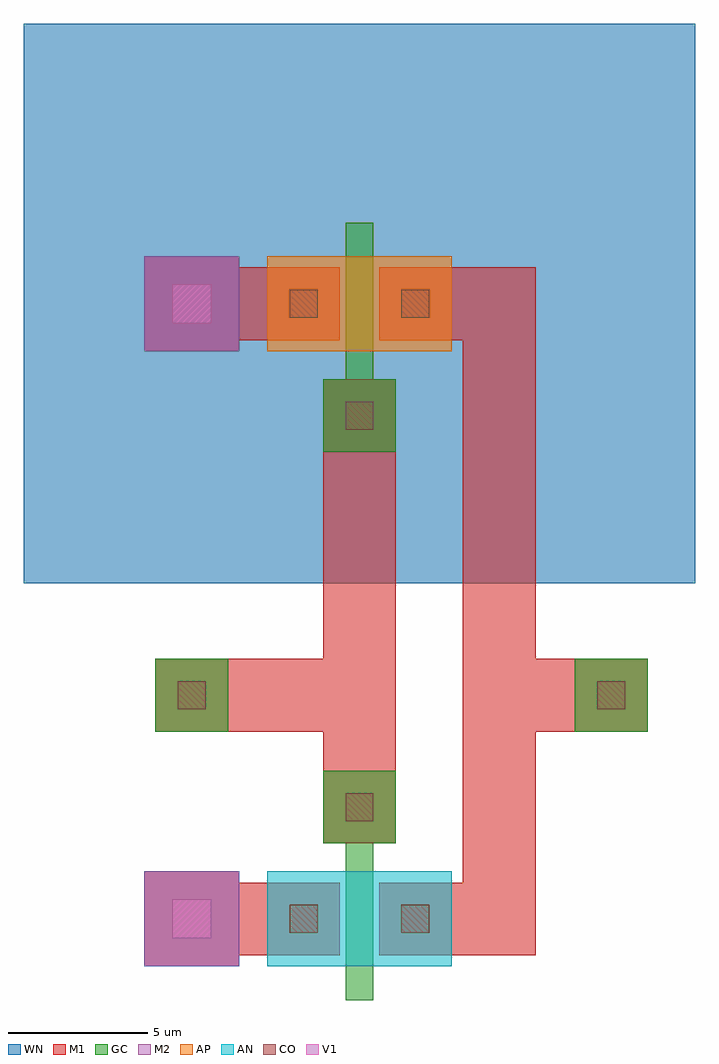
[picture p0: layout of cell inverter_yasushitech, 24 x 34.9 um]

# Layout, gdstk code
import gdstk
lib = gdstk.Library(unit=1e-6, precision=1e-07)
def R(c, l, rs):  # rectangles x0, y0, x1, y1
    for r in rs: c.add(gdstk.rectangle(r[:2], r[2:], *l))
AP = (3, 1)
AN = (3, 2)
GC = (8, 1)
CO = (11, 0)
M1 = (13, 0)
V1 = (19, 0)
M2 = (20, 0)
WN = (140, 0)

fet_p = lib.new_cell('fet_p')
R(fet_p, AP, [(-3.3,-1.7,3.3,1.7)])
R(fet_p, CO, [(-2.5,-0.5,-1.5,0.5), (1.5,-0.5,2.5,0.5)])
R(fet_p, M1, [(-3.3,-1.3,-0.7,1.3), (0.7,-1.3,3.3,1.3)])
fet_p.add(gdstk.FlexPath([(0,-2.9),(0,2.9)], 1, ends="flush", simple_path=True, layer=8, datatype=1))  # GC

fet_n = lib.new_cell('fet_n')
R(fet_n, AN, [(-3.3,-1.7,3.3,1.7)])
R(fet_n, CO, [(-2.5,-0.5,-1.5,0.5), (1.5,-0.5,2.5,0.5)])
R(fet_n, M1, [(-3.3,-1.3,-0.7,1.3), (0.7,-1.3,3.3,1.3)])
fet_n.add(gdstk.FlexPath([(0,-2.9),(0,2.9)], 1, ends="flush", simple_path=True, layer=8, datatype=1))  # GC

via_1 = lib.new_cell('via_1')
R(via_1, M1, [(-1.7,-1.7,1.7,1.7)])
R(via_1, V1, [(-0.7,-0.7,0.7,0.7)])
R(via_1, M2, [(-1.7,-1.7,1.7,1.7)])

cont_g = lib.new_cell('cont_g')
R(cont_g, GC, [(-1.3,-1.3,1.3,1.3)])
R(cont_g, CO, [(-0.5,-0.5,0.5,0.5)])
R(cont_g, M1, [(-1.3,-1.3,1.3,1.3)])

inverter_yasushitech = lib.new_cell('inverter_yasushitech')
R(inverter_yasushitech, WN, [(8,8,32,28)])
inverter_yasushitech.add(gdstk.FlexPath([(19,-4),(13,-4)], 2.6, ends="flush", simple_path=True, layer=13, datatype=0))  # M1
inverter_yasushitech.add(gdstk.FlexPath([(21,18),(25,18),(25,-1)], 2.6, ends="flush", simple_path=True, layer=13, datatype=0))  # M1
inverter_yasushitech.add(gdstk.FlexPath([(25,-1),(25,-4),(21,-4)], 2.6, ends="flush", simple_path=True, layer=13, datatype=0))  # M1
inverter_yasushitech.add(gdstk.FlexPath([(20,-1),(20,15),(20,15)], 2.6, ends="flush", simple_path=True, layer=13, datatype=0))  # M1
inverter_yasushitech.add(gdstk.FlexPath([(17,18),(13,18)], 2.6, ends="flush", simple_path=True, layer=13, datatype=0))  # M1
inverter_yasushitech.add(gdstk.FlexPath([(25,4),(30,4)], 2.6, ends="flush", simple_path=True, layer=13, datatype=0))  # M1
inverter_yasushitech.add(gdstk.FlexPath([(20,4),(13,4)], 2.6, ends="flush", simple_path=True, layer=13, datatype=0))  # M1
inverter_yasushitech.add(gdstk.Reference(fet_p, (20,18)))
inverter_yasushitech.add(gdstk.Reference(fet_n, (20,-4)))
inverter_yasushitech.add(gdstk.Reference(via_1, (14,-4)))
inverter_yasushitech.add(gdstk.Reference(cont_g, (20,14)))
inverter_yasushitech.add(gdstk.Reference(cont_g, (20,0)))
inverter_yasushitech.add(gdstk.Reference(via_1, (14,18)))
inverter_yasushitech.add(gdstk.Reference(cont_g, (29,4)))
inverter_yasushitech.add(gdstk.Reference(cont_g, (14,4)))

lib.write_gds('inverter_yasushitech.gds')
